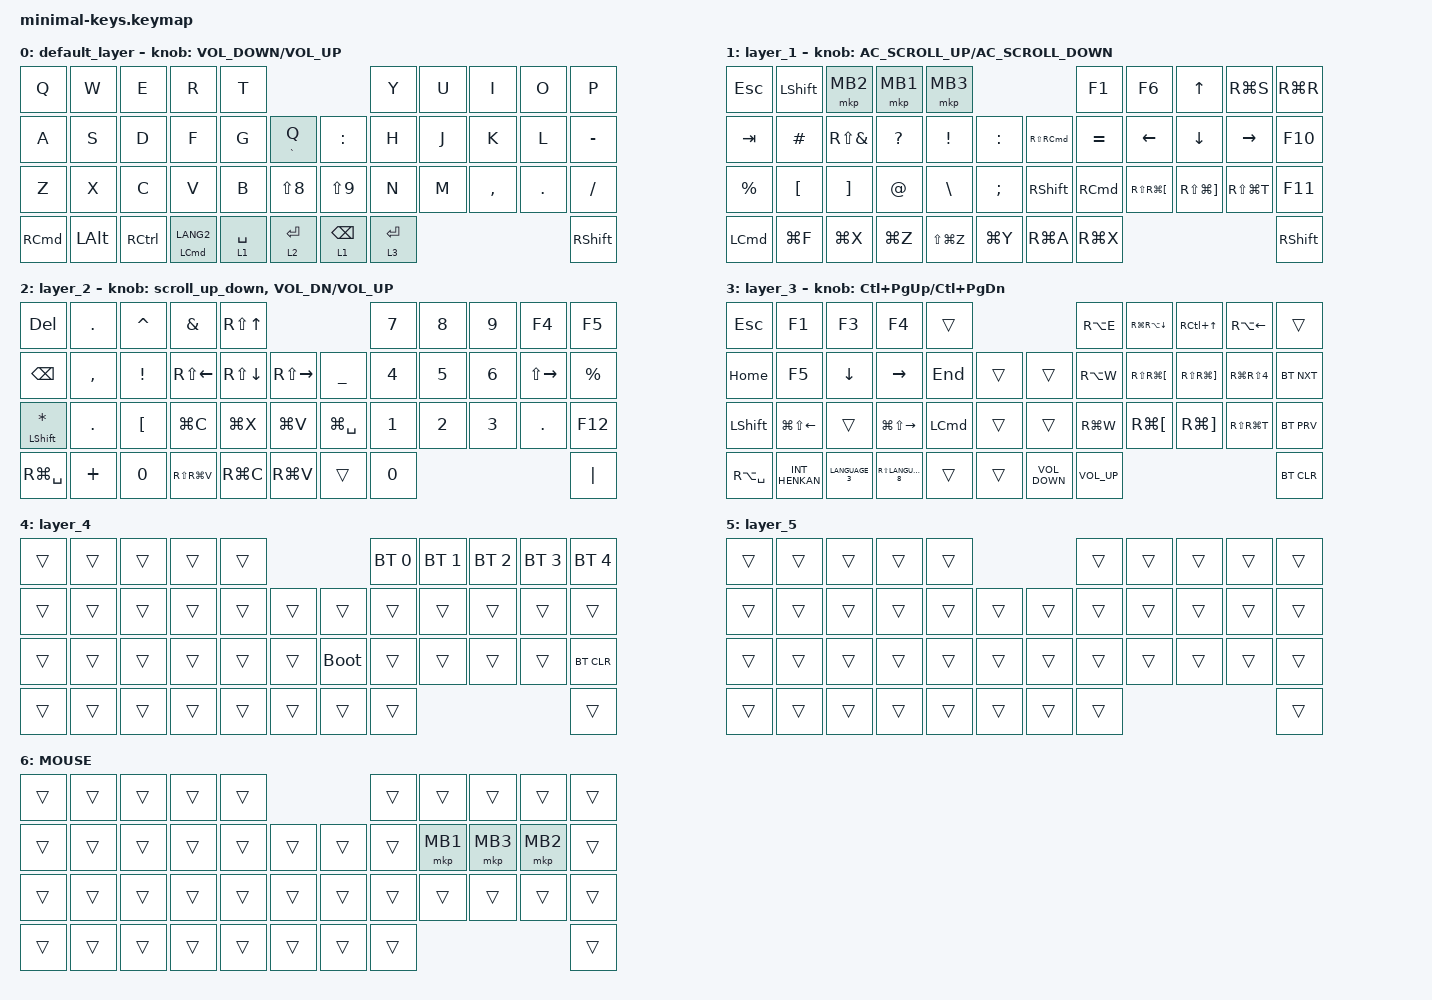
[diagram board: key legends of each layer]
#include <behaviors.dtsi>
#include <dt-bindings/zmk/bt.h>
#include <dt-bindings/zmk/keys.h>
#include <dt-bindings/zmk/pointing.h>

#undef ZMK_POINTING_DEFAULT_SCRL_VAL

#define ZMK_POINTING_DEFAULT_SCRL_VAL 100
#define MOUSE 6

&mt {
    flavor = "balanced";
    quick-tap-ms = <0>;
};

/ {
    combos {
        compatible = "zmk,combos";

        tab {
            bindings = <&kp TAB>;
            key-positions = <11 12>;
        };

        shfttab {
            bindings = <&kp LS(TAB)>;
            key-positions = <12 13>;
        };

        mb1 {
            bindings = <&mkp MB1>;
            key-positions = <18 19>;
        };

        mb2 {
            bindings = <&mkp MB2>;
            key-positions = <19 20>;
        };

        mb3 {
            bindings = <&mkp MB3>;
            key-positions = <18 20>;
        };
    };

    macros {
        to_layer_0: to_layer_0 {
            compatible = "zmk,behavior-macro-one-param";
            #binding-cells = <1>;
            bindings = <&to 0 &macro_param_1to1 &kp MACRO_PLACEHOLDER>;
            label = "TO_LAYER_0";
        };
    };

    behaviors {
        lt_to_layer_0: lt_to_layer_0 {
            compatible = "zmk,behavior-hold-tap";
            label = "LAYER_TAP_TO_0";
            bindings = <&mo>, <&to_layer_0>;

            #binding-cells = <2>;
            tapping-term-ms = <200>;
        };

        scroll_up_down: behavior_sensor_rotate_mouse_wheel_up_down {
            compatible = "zmk,behavior-sensor-rotate";
            #sensor-binding-cells = <0>;
            bindings = <&msc SCRL_UP>, <&msc SCRL_DOWN>;

            tap-ms = <20>;
        };

        scroll: scroll {
            compatible = "zmk,behavior-sensor-rotate";
            label = "SCROLL";
            #sensor-binding-cells = <0>;
            bindings = <&msc SCRL_DOWN>, <&msc SCRL_UP>;
        };
    };

    keymap {
        compatible = "zmk,keymap";

        default_layer {
            bindings = <
&kp Q     &kp W         &kp E              &kp R                   &kp T                                         &kp Y        &kp U  &kp I      &kp O    &kp P
&kp A     &kp S         &kp D              &kp F                   &kp G        &mt GRAVE Q    &kp COLON         &kp H        &kp J  &kp K      &kp L    &kp MINUS
&kp Z     &kp X         &kp C              &kp V                   &kp B        &kp LS(N8)     &kp LS(NUMBER_9)  &kp N        &kp M  &kp COMMA  &kp DOT  &kp SLASH
&kp RCMD  &kp LEFT_ALT  &kp RIGHT_CONTROL  &mt LEFT_COMMAND LANG2  &lt 1 SPACE  &lt 2 ENTER    &lt 1 BACKSPACE   &lt 3 ENTER                             &kp RIGHT_SHIFT
            >;

            sensor-bindings = <&inc_dec_kp C_VOLUME_DOWN C_VOLUME_UP>;
        };

        layer_1 {
            bindings = <
&kp ESCAPE        &kp LEFT_SHIFT    &mkp MB2           &mkp MB1      &mkp MB3                                       &kp F1     &kp F6                    &kp UP_ARROW               &kp RG(S)        &kp RG(R)
&kp TAB           &kp HASH          &kp RS(AMPERSAND)  &kp QUESTION  &kp EXCLAMATION  &kp COLON    &kp RS(RCMD)     &kp EQUAL  &kp LEFT_ARROW            &kp DOWN_ARROW             &kp RIGHT_ARROW  &kp F10
&kp PERCENT       &kp LEFT_BRACKET  &kp RIGHT_BRACKET  &kp AT        &kp BACKSLASH    &kp SEMI     &kp RIGHT_SHIFT  &kp RCMD   &kp RS(RG(LEFT_BRACKET))  &kp RS(LG(RIGHT_BRACKET))  &kp RS(LG(T))    &kp F11
&kp LEFT_COMMAND  &kp LG(F)         &kp LG(X)          &kp LG(Z)     &kp LS(LG(Z))    &kp LG(Y)    &kp RG(A)        &kp RG(X)                                                                        &kp RIGHT_SHIFT
            >;

            sensor-bindings = <&inc_dec_kp C_AC_SCROLL_UP C_AC_SCROLL_DOWN>;
        };

        layer_2 {
            bindings = <
&kp DEL               &kp PERIOD  &kp CARET         &kp AMPERSAND       &kp RS(UP_ARROW)                                           &kp NUMBER_7  &kp NUMBER_8  &kp NUMBER_9  &kp F4               &kp F5
&kp BACKSPACE         &kp COMMA   &kp EXCLAMATION   &kp RS(LEFT_ARROW)  &kp RS(DOWN_ARROW)  &kp RS(RIGHT_ARROW)    &kp UNDERSCORE  &kp NUMBER_4  &kp NUMBER_5  &kp NUMBER_6  &kp LS(RIGHT_ARROW)  &kp PERCENT
&mt LEFT_SHIFT ASTRK  &kp PERIOD  &kp LEFT_BRACKET  &kp LG(C)           &kp LG(X)           &kp LG(V)              &kp LG(SPACE)   &kp NUMBER_1  &kp NUMBER_2  &kp NUMBER_3  &kp PERIOD           &kp F12
&kp RG(SPACE)         &kp PLUS    &kp NUMBER_0      &kp RS(RG(V))       &kp RG(C)           &kp RG(V)              &trans          &kp NUMBER_0                                                   &kp PIPE
            >;

            sensor-bindings =
                <&scroll_up_down>,
                <&inc_dec_kp C_VOL_DN C_VOL_UP>;
        };

        layer_3 {
            bindings = <
&kp ESCAPE      &kp F1                  &kp F3          &kp F4                   &trans                                         &kp RA(E)        &kp RG(RA(DOWN_ARROW))    &kp RC(UP_ARROW)           &kp RA(LEFT_ARROW)    &trans
&kp HOME        &kp F5                  &kp DOWN_ARROW  &kp RIGHT_ARROW          &kp END           &trans    &trans             &kp RA(W)        &kp RS(RG(LEFT_BRACKET))  &kp RS(RG(RIGHT_BRACKET))  &kp RG(RS(NUMBER_4))  &bt BT_NXT
&kp LEFT_SHIFT  &kp LG(LS(LEFT_ARROW))  &trans          &kp LG(LS(RIGHT_ARROW))  &kp LEFT_COMMAND  &trans    &trans             &kp RG(W)        &kp RG(LEFT_BRACKET)      &kp RG(RIGHT_BRACKET)      &kp RS(RG(T))         &bt BT_PRV
&kp RA(SPACE)   &kp INT_HENKAN          &kp LANGUAGE_3  &kp RS(LANGUAGE_8)       &trans            &trans    &kp C_VOLUME_DOWN  &kp C_VOLUME_UP                                                                             &bt BT_CLR
            >;

            sensor-bindings = <&inc_dec_kp LC(PAGE_UP) LC(PAGE_DOWN)>;
        };

        layer_4 {
            bindings = <
&trans  &trans  &trans  &trans  &trans                         &bt BT_SEL 0  &bt BT_SEL 1  &bt BT_SEL 2  &bt BT_SEL 3  &bt BT_SEL 4
&trans  &trans  &trans  &trans  &trans  &trans    &trans       &trans        &trans        &trans        &trans        &trans
&trans  &trans  &trans  &trans  &trans  &trans    &bootloader  &trans        &trans        &trans        &trans        &bt BT_CLR
&trans  &trans  &trans  &trans  &trans  &trans    &trans       &trans                                                  &trans
            >;
        };

        layer_5 {
            bindings = <
&trans  &trans  &trans  &trans  &trans                    &trans  &trans  &trans  &trans  &trans
&trans  &trans  &trans  &trans  &trans  &trans    &trans  &trans  &trans  &trans  &trans  &trans
&trans  &trans  &trans  &trans  &trans  &trans    &trans  &trans  &trans  &trans  &trans  &trans
&trans  &trans  &trans  &trans  &trans  &trans    &trans  &trans                          &trans
            >;
        };

        MOUSE {
            bindings = <
&trans  &trans  &trans  &trans  &trans                    &trans  &trans    &trans    &trans    &trans
&trans  &trans  &trans  &trans  &trans  &trans    &trans  &trans  &mkp MB1  &mkp MB3  &mkp MB2  &trans
&trans  &trans  &trans  &trans  &trans  &trans    &trans  &trans  &trans    &trans    &trans    &trans
&trans  &trans  &trans  &trans  &trans  &trans    &trans  &trans                                &trans
            >;
        };
    };
};
